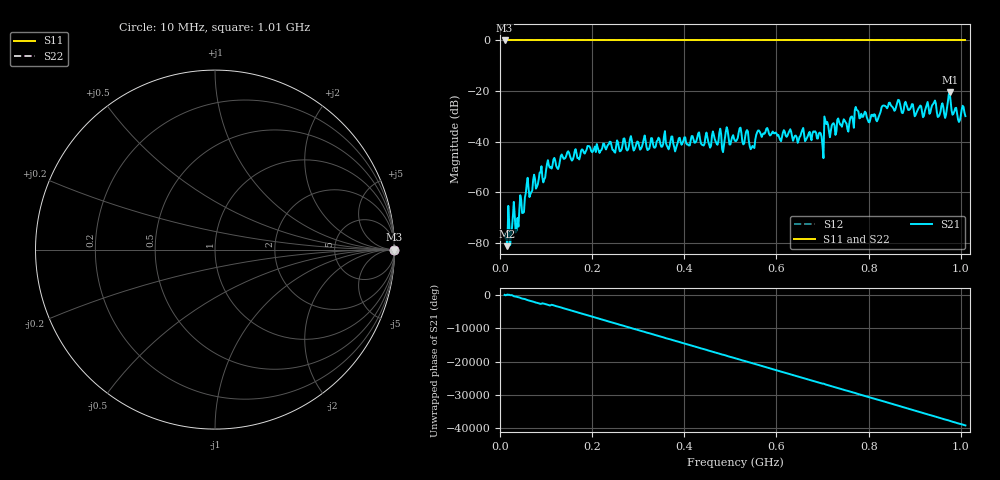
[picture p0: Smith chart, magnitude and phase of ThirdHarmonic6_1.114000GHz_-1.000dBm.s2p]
! 8/16/2025 10:38:32 AM
! C:\ANRITSUVNA\TEMP\TEMP.S2P
! CHANNEL.1
! TR.MEASUREMENT
! RAW.DATA
! RF.CORRECTION.OFF
! AVERAGING.OFF
! IF.BANDWIDTH: 5KHZ
! SWEEPTYPE:  FREQ.SWEEP(Linear)
! Reference Plane Port Info
! PORT:  PORT1  PORT2
! DISTANCE:  0  m  0  m
! TIME:  0  s  0  s
! PHASE.OFFSET:  0  deg.  0  deg.
! LOSS:  0  dB  0  dB
! REF.LOSS:  0  dB  0  dB
! REF.FREQ:  0  Hz  0  Hz
! Power Info
! POWER:  -20  dBm  -20  dBm
! EFF.POWER:  -20  dBm  -20  dBm
! SOURCE.ATTEN:  0  dB  0  dB
! TEST.ATTEN:  0  dB  0  dB
# GHZ S RI R 50.0
! FREQ.GHZ  S11RE  S11IM  S21RE  S21IM  S12RE  S12IM  S22RE  S22IM
!; PortSelection: Port_12
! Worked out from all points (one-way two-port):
!   501 points, 10 MHz to 1.01 GHz, reference 50 ohm
!   highest |S21| = -20.57 dB at 976 MHz (marker M1); lowest = -81.3 dB at 16 MHz (marker M2)
!   lowest |S11| = 0.0 dB at 10 MHz (marker M3)
!   |S11| at or under -10 dB: nowhere
!   |S22| runs from 0.0 to 0.0 dB; largest |S21 - S12| = 1.1
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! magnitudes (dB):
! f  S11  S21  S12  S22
! 10 MHz  0.0  -76.4  0.0  0.0
! 16 MHz  0.0  -81.3  0.0  0.0
! 38 MHz  0.0  -70.2  0.0  0.0
! 58 MHz  0.0  -56.8  0.0  0.0
! 104 MHz  0.0  -47.3  0.0  0.0
! 178 MHz  0.0  -43.0  0.0  0.0
! 344 MHz  0.0  -38.4  0.0  0.0
! 510 MHz  0.0  -39.7  0.0  0.0
! 548 MHz  0.0  -41.7  0.0  0.0
! 560 MHz  0.0  -35.6  0.0  0.0
! 678 MHz  0.0  -36.7  0.0  0.0
! 698 MHz  0.0  -38.2  0.0  0.0
! 708 MHz  0.0  -33.0  0.0  0.0
! 754 MHz  0.0  -35.1  0.0  0.0
! 774 MHz  0.0  -27.4  0.0  0.0
! 820 MHz  0.0  -31.2  0.0  0.0
! 844 MHz  0.0  -24.6  0.0  0.0
! 942 MHz  0.0  -24.5  0.0  0.0
! 952 MHz  0.0  -30.1  0.0  0.0
! 976 MHz  0.0  -20.6  0.0  0.0
! 996 MHz  0.0  -32.2  0.0  0.0
! 1.01 GHz  0.0  -29.9  0.0  0.0
